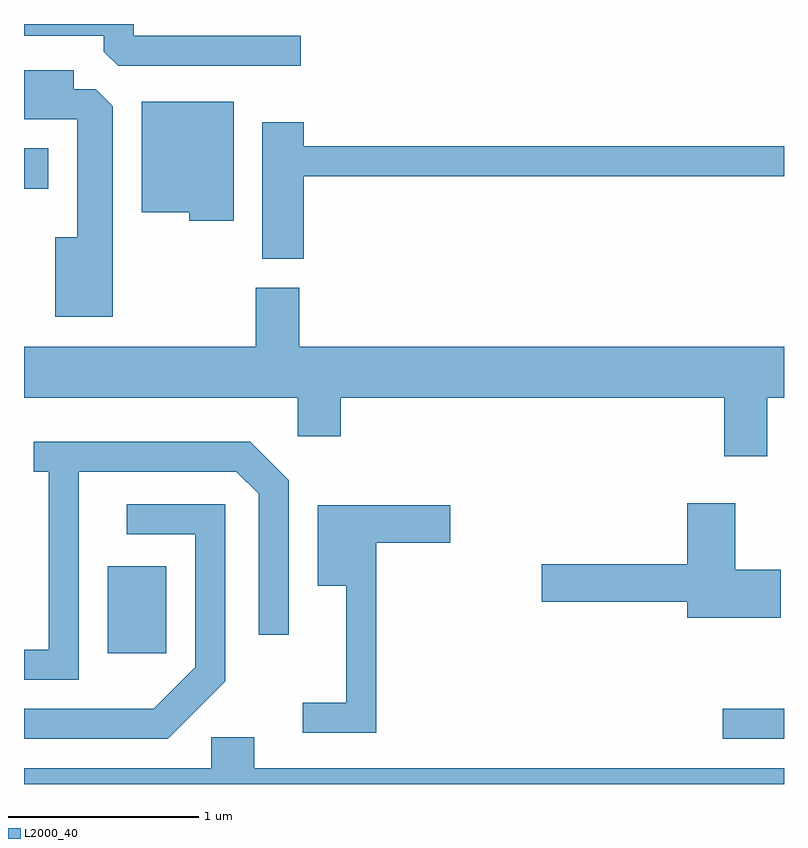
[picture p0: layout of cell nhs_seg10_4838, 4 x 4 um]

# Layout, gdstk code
import gdstk
lib = gdstk.Library(unit=1e-6, precision=1e-09)
def R(c, l, rs):  # rectangles x0, y0, x1, y1
    for r in rs: c.add(gdstk.rectangle(r[:2], r[2:], *l))
def P(c, l, *ps):  # polygons
    for p in ps: c.add(gdstk.Polygon(p, *l))
L2000_40 = (2000, 40)

nhs_seg10_4838 = lib.new_cell('nhs_seg10_4838')
R(nhs_seg10_4838, L2000_40, [(331.288,2138.761,331.611,2138.919), (328.051,2139.211,328.359,2139.669), (327.611,2141.656,327.739,2141.869)])
P(nhs_seg10_4838, L2000_40, [(329.068,2142.459),(328.189,2142.459),(328.189,2142.522),(327.611,2142.522),(327.611,2142.461),(328.031,2142.461),(328.031,2142.377),(328.107,2142.301),(329.068,2142.301)],
  [(328.079,2142.089),(327.989,2142.179),(327.874,2142.179),(327.874,2142.279),(327.611,2142.279),(327.611,2142.021),(327.891,2142.021),(327.891,2141.399),(327.776,2141.399),(327.776,2140.981),(328.079,2140.981)],
  [(328.714,2142.114),(328.231,2142.114),(328.231,2141.531),(328.481,2141.531),(328.481,2141.486),(328.714,2141.486)],
  [(329.084,2141.721),(331.611,2141.721),(331.611,2141.879),(329.084,2141.879),(329.084,2142.004),(328.866,2142.004),(328.866,2141.286),(329.084,2141.286)],
  [(331.524,2140.556),(331.611,2140.556),(331.611,2140.824),(329.059,2140.824),(329.059,2141.134),(328.831,2141.134),(328.831,2140.824),(327.611,2140.824),(327.611,2140.556),(329.051,2140.556),(329.051,2140.351),(329.279,2140.351),(329.279,2140.556),(331.296,2140.556),(331.296,2140.246),(331.524,2140.246)],
  [(327.899,2140.166),(328.729,2140.166),(328.846,2140.049),(328.846,2139.308),(329.004,2139.308),(329.004,2140.122),(328.802,2140.324),(327.663,2140.324),(327.663,2140.166),(327.741,2140.166),(327.741,2139.229),(327.611,2139.229),(327.611,2139.071),(327.899,2139.071)],
  [(331.594,2139.649),(331.354,2139.649),(331.354,2139.999),(331.101,2139.999),(331.101,2139.679),(330.336,2139.679),(330.336,2139.481),(331.101,2139.481),(331.101,2139.396),(331.594,2139.396)],
  [(328.669,2139.064),(328.669,2139.994),(328.153,2139.994),(328.153,2139.836),(328.511,2139.836),(328.511,2139.137),(328.294,2138.919),(327.611,2138.919),(327.611,2138.761),(328.367,2138.761)],
  [(329.464,2139.791),(329.854,2139.791),(329.854,2139.989),(329.156,2139.989),(329.156,2139.566),(329.306,2139.566),(329.306,2138.949),(329.078,2138.949),(329.078,2138.791),(329.464,2138.791)],
  [(331.611,2138.604),(328.824,2138.604),(328.824,2138.769),(328.596,2138.769),(328.596,2138.604),(327.611,2138.604),(327.611,2138.522),(331.611,2138.522)])

lib.write_gds('nhs_seg10_4838.gds')
